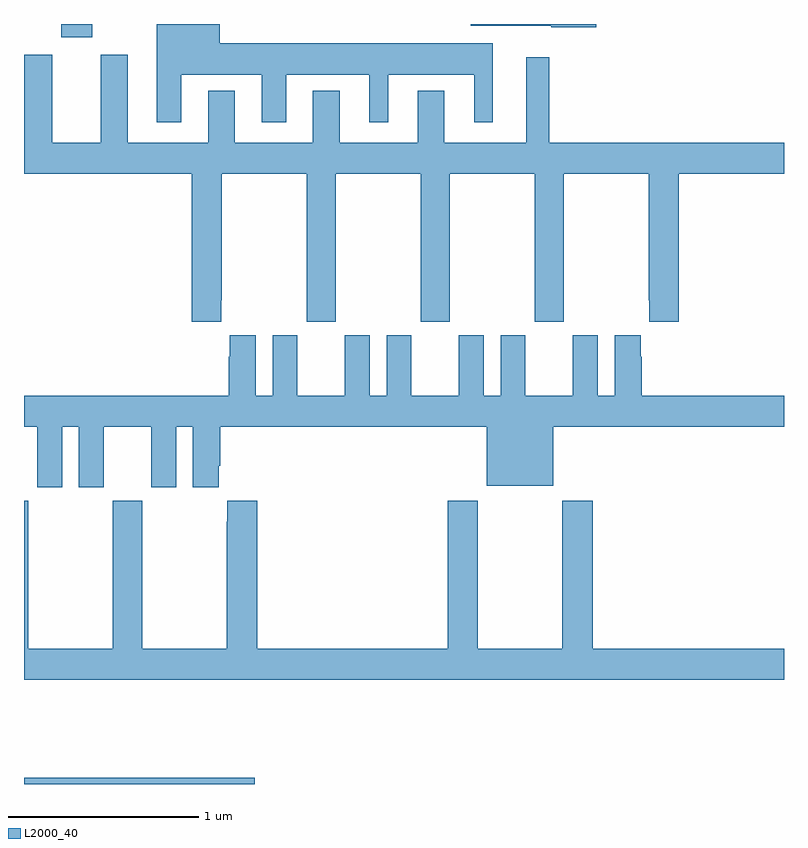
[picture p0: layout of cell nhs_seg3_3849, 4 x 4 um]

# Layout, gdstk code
import gdstk
lib = gdstk.Library(unit=1e-6, precision=1e-09)
def R(c, l, rs):  # rectangles x0, y0, x1, y1
    for r in rs: c.add(gdstk.rectangle(r[:2], r[2:], *l))
def P(c, l, *ps):  # polygons
    for p in ps: c.add(gdstk.Polygon(p, *l))
L2000_40 = (2000, 40)

nhs_seg3_3849 = lib.new_cell('nhs_seg3_3849')
R(nhs_seg3_3849, L2000_40, [(311,668.4,312.214,668.432), (311.195,672.33,311.359,672.4)])
P(nhs_seg3_3849, L2000_40, [(311.827,672.134),(312.251,672.134),(312.251,671.883),(312.379,671.883),(312.379,672.134),(312.818,672.134),(312.818,671.883),(312.916,671.883),(312.916,672.134),(313.37,672.134),(313.37,671.883),(313.468,671.883),(313.468,672.298),(312.031,672.298),(312.031,672.4),(311.699,672.4),(311.699,671.883),(311.827,671.883)],
  [(314.011,672.4),(313.35,672.4),(313.35,672.392),(313.776,672.392),(313.776,672.383),(314.011,672.383)],
  [(312.037,670.945),(312.042,670.945),(312.042,671.612),(312.487,671.612),(312.487,670.833),(312.642,670.833),(312.642,671.612),(313.087,671.612),(313.087,670.833),(313.242,670.833),(313.242,671.612),(313.687,671.612),(313.687,670.833),(313.842,670.833),(313.842,671.612),(314.287,671.612),(314.287,670.945),(314.291,670.945),(314.291,670.833),(314.447,670.833),(314.447,671.612),(315,671.612),(315,671.776),(313.765,671.776),(313.765,672.226),(313.643,672.226),(313.643,671.776),(313.213,671.776),(313.213,672.049),(313.073,672.049),(313.073,671.776),(312.661,671.776),(312.661,672.049),(312.521,672.049),(312.521,671.776),(312.109,671.776),(312.109,672.049),(311.969,672.049),(311.969,671.776),(311.545,671.776),(311.545,672.238),(311.405,672.238),(311.405,671.776),(311.149,671.776),(311.149,672.238),(311,672.238),(311,671.612),(311.882,671.612),(311.882,670.833),(312.037,670.833)],
  [(311.2,670.28),(311.288,670.28),(311.288,669.963),(311.419,669.963),(311.419,670.28),(311.669,670.28),(311.669,669.963),(311.8,669.963),(311.8,670.28),(311.888,670.28),(311.888,669.963),(312.025,669.963),(312.025,670.075),(312.032,670.075),(312.032,670.28),(313.436,670.28),(313.436,669.971),(313.786,669.971),(313.786,670.28),(315,670.28),(315,670.444),(314.252,670.444),(314.252,670.649),(314.245,670.649),(314.245,670.762),(314.108,670.762),(314.108,670.444),(314.02,670.444),(314.02,670.762),(313.889,670.762),(313.889,670.444),(313.639,670.444),(313.639,670.762),(313.508,670.762),(313.508,670.444),(313.42,670.444),(313.42,670.762),(313.289,670.762),(313.289,670.444),(313.039,670.444),(313.039,670.762),(312.908,670.762),(312.908,670.444),(312.82,670.444),(312.82,670.762),(312.689,670.762),(312.689,670.444),(312.439,670.444),(312.439,670.762),(312.308,670.762),(312.308,670.444),(312.22,670.444),(312.22,670.762),(312.083,670.762),(312.083,670.649),(312.077,670.649),(312.077,670.444),(311,670.444),(311,670.28),(311.069,670.28),(311.069,669.963),(311.2,669.963)],
  [(315,669.112),(313.994,669.112),(313.994,669.892),(313.834,669.892),(313.834,669.112),(313.389,669.112),(313.389,669.892),(313.229,669.892),(313.229,669.112),(312.227,669.112),(312.227,669.892),(312.071,669.892),(312.071,669.779),(312.067,669.779),(312.067,669.112),(311.622,669.112),(311.622,669.892),(311.467,669.892),(311.467,669.112),(311.022,669.112),(311.022,669.892),(311,669.892),(311,668.948),(315,668.948)])

lib.write_gds('nhs_seg3_3849.gds')
